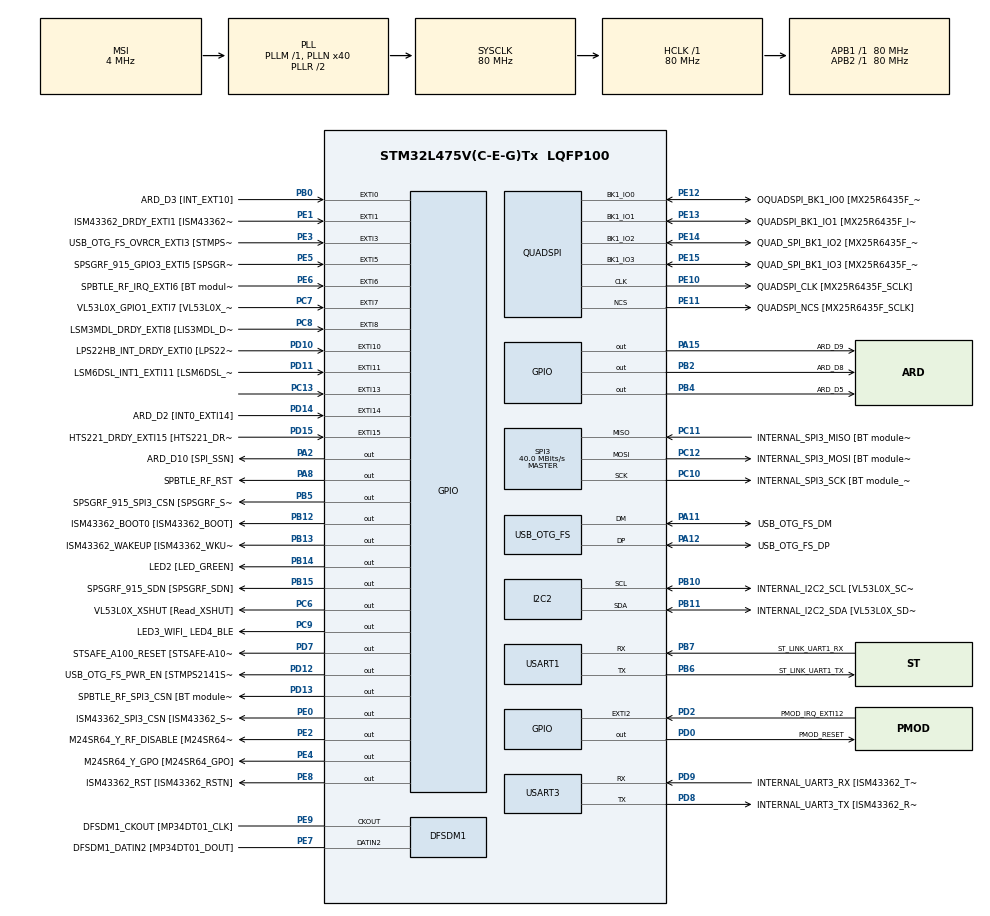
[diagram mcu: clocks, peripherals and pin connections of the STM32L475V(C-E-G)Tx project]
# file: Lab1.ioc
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FREERTOS.BinarySemaphores01=buttonSem,Dynamic,NULL,Depleted;blinkSem,Dynamic,NULL,Depleted;longPressSem,Dynamic,NULL,Depleted
FREERTOS.Mutexes01=mutex,Dynamic,NULL,Available
FREERTOS.Tasks01=myTask03,24,128,StartTask03,Default,NULL,Dynamic,NULL,NULL;myTask01,8,128,StartTask01,Default,NULL,Dynamic,NULL,NULL;myTask02,8,128,StartTask02,Default,NULL,Dynamic,NULL,NULL
I2C2.Timing=0x10D19CE4
Mcu.Family=STM32L4
Mcu.Name=STM32L475V(C-E-G)Tx
Mcu.Package=LQFP100
NVIC.EXTI15_10_IRQn=true\:5\:0\:false\:false\:true\:true\:true\:true\:true
NVIC.EXTI9_5_IRQn=true\:5\:0\:false\:false\:true\:true\:true\:true\:true
NVIC.PriorityGroup=NVIC_PRIORITYGROUP_4
NVIC.TIM2_IRQn=true\:5\:0\:false\:false\:true\:true\:true\:true\:true
PA0.GPIO_Label=ARD_D1 [UART4_TX]
PA0.Signal=UART4_TX
PA1.GPIO_Label=ARD_D0 [UART4_RX]
PA1.Signal=UART4_RX
PA10.GPIO_Label=USB_OTG_FS_ID
PA10.Signal=USB_OTG_FS_ID
PA11.GPIO_Label=USB_OTG_FS_DM
PA11.Mode=Device_Only
PA11.Signal=USB_OTG_FS_DM
PA12.GPIO_Label=USB_OTG_FS_DP
PA12.Mode=Device_Only
PA12.Signal=USB_OTG_FS_DP
PA13\ (JTMS-SWDIO).GPIO_Label=SYS_JTMS_SWDIO
PA13\ (JTMS-SWDIO).Mode=Serial_Wire
PA13\ (JTMS-SWDIO).Signal=SYS_JTMS-SWDIO
PA14\ (JTCK-SWCLK).GPIO_Label=SYS_JTCK_SWCLK
PA14\ (JTCK-SWCLK).Mode=Serial_Wire
PA14\ (JTCK-SWCLK).Signal=SYS_JTCK-SWCLK
PA15\ (JTDI).GPIO_Label=ARD_D9
PA15\ (JTDI).Signal=GPIO_Output
PA2.GPIO_Label=ARD_D10 [SPI_SSN]
PA2.Signal=GPIO_Output
PA3.GPIO_Label=ARD_D4
PA3.Signal=S_TIM2_CH4
PA4.GPIO_Label=ARD_D7
PA4.Signal=ADCx_IN9
PA5.GPIO_Label=ARD_D13 [SPI1_SCK]
PA5.Signal=SPI1_SCK
PA6.GPIO_Label=ARD_D12 [SPI1_MISO]
PA6.Signal=SPI1_MISO
PA7.GPIO_Label=ARD_D11 [SPI1_MOSI]
PA7.Signal=SPI1_MOSI
PA8.GPIO_Label=SPBTLE_RF_RST
PA8.Signal=GPIO_Output
PA9.GPIO_Label=USB_OTG_FS_VBUS [STMPS2141STR_OUT]
PA9.Signal=USB_OTG_FS_VBUS
PB0.GPIO_Label=ARD_D3 [INT_EXT10]
PB0.Signal=GPXTI0
PB1.GPIO_Label=ARD_D6 [ADC1_IN6]
PB1.Signal=ADCx_IN16
PB10.GPIO_Label=INTERNAL_I2C2_SCL [VL53L0X_SCL]
PB10.GPIO_Pu=GPIO_PULLUP
PB10.Mode=I2C
PB10.Signal=I2C2_SCL
PB11.GPIO_Label=INTERNAL_I2C2_SDA [VL53L0X_SDA]
PB11.GPIO_Pu=GPIO_PULLUP
PB11.Mode=I2C
PB11.Signal=I2C2_SDA
PB12.GPIO_Label=ISM43362_BOOT0 [ISM43362_BOOT]
PB12.Signal=GPIO_Output
PB13.GPIO_Label=ISM43362_WAKEUP [ISM43362_WKUP]
PB13.Signal=GPIO_Output
PB14.GPIO_Label=LED2 [LED_GREEN]
PB14.Signal=GPIO_Output
PB15.GPIO_Label=SPSGRF_915_SDN [SPSGRF_SDN]
PB15.Signal=GPIO_Output
PB2.GPIO_Label=ARD_D8
PB2.Signal=GPIO_Output
PB3\ (JTDO-TRACESWO).GPIO_Label=SYS_JTD0_SWO
PB3\ (JTDO-TRACESWO).Signal=SYS_JTDO-SWO
PB4\ (NJTRST).GPIO_Label=ARD_D5
PB4\ (NJTRST).Signal=GPIO_Output
PB5.GPIO_Label=SPSGRF_915_SPI3_CSN [SPSGRF_SPI_CS]
PB5.PinState=GPIO_PIN_SET
PB5.Signal=GPIO_Output
PB6.GPIO_Label=ST_LINK_UART1_TX
PB6.Mode=Asynchronous
PB6.Signal=USART1_TX
PB7.GPIO_Label=ST_LINK_UART1_RX
PB7.Mode=Asynchronous
PB7.Signal=USART1_RX
PB8.GPIO_Label=ARD_D15 [I2C1_SCL]
PB8.Signal=I2C1_SCL
PB9.GPIO_Label=ARD_D14 [I2C1_SDA]
PB9.Signal=I2C1_SDA
PC0.GPIO_Label=ARD_A5 [ADC]
PC0.Signal=ADCx_IN1
PC1.GPIO_Label=ARD_A4 [ADC]
PC1.Signal=ADCx_IN2
PC10.GPIO_Label=INTERNAL_SPI3_SCK [BT module_SPI_SCLK] [ISM43362_SCK]
PC10.Mode=Full_Duplex_Master
PC10.Signal=SPI3_SCK
PC11.GPIO_Label=INTERNAL_SPI3_MISO [BT module_SPI_MISO] [ISM43362_MISO]
PC11.Mode=Full_Duplex_Master
PC11.Signal=SPI3_MISO
PC12.GPIO_Label=INTERNAL_SPI3_MOSI [BT module_SPI_MOSI] [ISM43362_MOSI]
PC12.Mode=Full_Duplex_Master
PC12.Signal=SPI3_MOSI
PC13.GPIO_ModeDefaultEXTI=GPIO_MODE_IT_RISING_FALLING
PC13.Signal=GPXTI13
PC14-OSC32_IN\ (PC14).Mode=LSE-External-Oscillator
PC14-OSC32_IN\ (PC14).Signal=RCC_OSC32_IN
PC15-OSC32_OUT\ (PC15).Mode=LSE-External-Oscillator
PC15-OSC32_OUT\ (PC15).Signal=RCC_OSC32_OUT
PC2.GPIO_Label=ARD_A3 [ADC]
PC2.Signal=ADCx_IN3
PC3.GPIO_Label=ARD_A2 [ADC]
PC3.Signal=ADCx_IN4
PC4.GPIO_Label=ARD_A1 [ADC]
PC4.Signal=ADCx_IN13
PC5.GPIO_Label=ARD_A0 [ADC]
PC5.Signal=ADCx_IN14
PC6.GPIO_Label=VL53L0X_XSHUT [Read_XSHUT]
PC6.Signal=GPIO_Output
PC7.GPIO_Label=VL53L0X_GPIO1_EXTI7 [VL53L0X_GPIO1]
PC7.Signal=GPXTI7
PC8.GPIO_Label=LSM3MDL_DRDY_EXTI8 [LIS3MDL_DRDY]
PC8.Signal=GPXTI8
PC9.GPIO_Label=LED3_WIFI_ LED4_BLE
PC9.Signal=GPIO_Output
PD0.GPIO_Label=PMOD_RESET
PD0.Signal=GPIO_Output
PD1.GPIO_Label=PMOD_SPI2_SCK
PD1.Signal=SPI2_SCK
PD10.GPIO_Label=LPS22HB_INT_DRDY_EXTI0 [LPS22HB_INT_DRDY] 
PD10.Signal=GPXTI10
PD11.GPIO_Label=LSM6DSL_INT1_EXTI11 [LSM6DSL_INT1]
PD11.Signal=GPXTI11
PD12.GPIO_Label=USB_OTG_FS_PWR_EN [STMPS2141STR_EN]
PD12.Signal=GPIO_Output
PD13.GPIO_Label=SPBTLE_RF_SPI3_CSN [BT module_SPI_CS]
PD13.PinState=GPIO_PIN_SET
PD13.Signal=GPIO_Output
PD14.GPIO_Label=ARD_D2 [INT0_EXTI14]
PD14.Signal=GPXTI14
PD15.GPIO_Label=HTS221_DRDY_EXTI15 [HTS221_DRDY]
PD15.Signal=GPXTI15
PD2.GPIO_Label=PMOD_IRQ_EXTI12
PD2.Signal=GPXTI2
PD3.GPIO_Label=PMOD_UART2_CTS
PD3.Signal=USART2_CTS
PD4.GPIO_Label=PMOD_UART2_RTS
PD4.Signal=USART2_RTS
PD5.GPIO_Label=PMOD_UART2_TX
PD5.Signal=USART2_TX
PD6.GPIO_Label=PMOD_UART2_RX
PD6.Signal=USART2_RX
PD7.GPIO_Label=STSAFE_A100_RESET [STSAFE-A100_RESET]
PD7.Signal=GPIO_Output
PD8.GPIO_Label=INTERNAL_UART3_TX [ISM43362_RX]
PD8.Mode=Asynchronous
PD8.Signal=USART3_TX
PD9.GPIO_Label=INTERNAL_UART3_RX [ISM43362_TX]
PD9.Mode=Asynchronous
PD9.Signal=USART3_RX
PE0.GPIO_Label=ISM43362_SPI3_CSN [ISM43362_SSN]
PE0.PinState=GPIO_PIN_SET
PE0.Signal=GPIO_Output
PE1.GPIO_Label=ISM43362_DRDY_EXTI1 [ISM43362_DATARDY]
PE1.Signal=GPXTI1
PE10.GPIO_Label=QUADSPI_CLK [MX25R6435F_SCLK]
PE10.Mode=Single Bank
PE10.Signal=QUADSPI_CLK
PE11.GPIO_Label=QUADSPI_NCS [MX25R6435F_SCLK]
PE11.Mode=Single Bank
PE11.Signal=QUADSPI_NCS
PE12.GPIO_Label=OQUADSPI_BK1_IO0 [MX25R6435F_IO0]
PE12.Mode=Single Bank
PE12.Signal=QUADSPI_BK1_IO0
PE13.GPIO_Label=QUADSPI_BK1_IO1 [MX25R6435F_IO1]
PE13.Mode=Single Bank
PE13.Signal=QUADSPI_BK1_IO1
PE14.GPIO_Label=QUAD_SPI_BK1_IO2 [MX25R6435F_IO2]
PE14.Mode=Single Bank
PE14.Signal=QUADSPI_BK1_IO2
PE15.GPIO_Label=QUAD_SPI_BK1_IO3 [MX25R6435F_IO3]
PE15.Mode=Single Bank
PE15.Signal=QUADSPI_BK1_IO3
PE2.GPIO_Label=M24SR64_Y_RF_DISABLE [M24SR64_RFDIS]
PE2.Signal=GPIO_Output
PE3.GPIO_Label=USB_OTG_FS_OVRCR_EXTI3 [STMPS2141STR_FAULT]
PE3.Signal=GPXTI3
PE4.GPIO_Label=M24SR64_Y_GPO [M24SR64_GPO]
PE4.Signal=GPIO_Output
PE5.GPIO_Label=SPSGRF_915_GPIO3_EXTI5 [SPSGRF_GPIO_3]
PE5.Signal=GPXTI5
PE6.GPIO_Label=SPBTLE_RF_IRQ_EXTI6 [BT module_SPI_IRQ]
PE6.Signal=GPXTI6
PE7.GPIO_Label=DFSDM1_DATIN2 [MP34DT01_DOUT]
PE7.Signal=S_DATAIN2DFSDM1
PE8.GPIO_Label=ISM43362_RST [ISM43362_RSTN]
PE8.Signal=GPIO_Output
PE9.GPIO_Label=DFSDM1_CKOUT [MP34DT01_CLK]
PE9.Signal=S_CKOUTDFSDM1
ProjectManager.HeapSize=0x200
ProjectManager.StackSize=0x400
ProjectManager.TargetToolchain=STM32CubeIDE
QUADSPI.ClockPrescaler=2
QUADSPI.FifoThreshold=4
QUADSPI.FlashSize=23
QUADSPI.SampleShifting=QSPI_SAMPLE_SHIFTING_HALFCYCLE
RCC.ADCFreq_Value=48000000
RCC.AHBFreq_Value=80000000
RCC.APB1Freq_Value=80000000
RCC.APB1TimFreq_Value=80000000
RCC.APB2Freq_Value=80000000
RCC.APB2TimFreq_Value=80000000
RCC.CortexFreq_Value=80000000
RCC.HCLKFreq_Value=80000000
RCC.HSE_VALUE=8000000
RCC.HSI_VALUE=16000000
RCC.MSI_VALUE=4000000
RCC.PLLN=40
RCC.PLLSAI1N=24
RCC.SYSCLKFreq_VALUE=80000000
RCC.SYSCLKSource=RCC_SYSCLKSOURCE_PLLCLK
RCC.USBFreq_Value=48000000
RCC.VCOOutputFreq_Value=160000000
SH.ADCx_IN1.0=ADC1_IN1
SH.ADCx_IN13.0=ADC1_IN13
SH.ADCx_IN14.0=ADC1_IN14
SH.ADCx_IN16.0=ADC1_IN16
SH.ADCx_IN2.0=ADC1_IN2
SH.ADCx_IN3.0=ADC1_IN3
SH.ADCx_IN4.0=ADC1_IN4
SH.ADCx_IN9.0=ADC1_IN9
SH.S_CKOUTDFSDM1.0=DFSDM1_CKOUT,CKOUT
SH.S_CKOUTDFSDM1.1=DFSDM1_CKOUT,PDM_SPI_Input_from_ch12_and_Internal_Clock
SH.S_DATAIN2DFSDM1.0=DFSDM1_DATIN2,PDM_SPI_Input_from_ch12_and_Internal_Clock
SH.S_TIM2_CH4.0=TIM2_CH4
SPI3.BaudRatePrescaler=SPI_BAUDRATEPRESCALER_2
SPI3.CalculateBaudRate=40.0 MBits/s
SPI3.Direction=SPI_DIRECTION_2LINES
SPI3.Mode=SPI_MODE_MASTER
SPI3.VirtualType=VM_MASTER
TIM2.Period=100000
TIM2.Prescaler=7999
USART1.VirtualMode-Asynchronous=VM_ASYNC
USART3.VirtualMode-Asynchronous=VM_ASYNC
USB_OTG_FS.VirtualMode=Device_Only
VP_FREERTOS_VS_CMSIS_V2.Mode=CMSIS_V2
VP_TIM2_VS_ClockSourceINT.Mode=Internal
board=B-L475E-IOT01A1

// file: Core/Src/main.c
/* USER CODE BEGIN Header */
/**
  ******************************************************************************
  * @file           : main.c
  * @brief          : Main program body
  ******************************************************************************
  * @attention
  *
  * Copyright (c) 2025 STMicroelectronics.
  * All rights reserved.
  *
  * This software is licensed under terms that can be found in the LICENSE file
  * in the root directory of this software component.
  * If no LICENSE file comes with this software, it is provided AS-IS.
  *
  ******************************************************************************
  */
/* USER CODE END Header */
#include "main.h"
#include "cmsis_os.h"

DFSDM_Channel_HandleTypeDef hdfsdm1_channel1;

I2C_HandleTypeDef hi2c2;

QSPI_HandleTypeDef hqspi;

SPI_HandleTypeDef hspi3;

TIM_HandleTypeDef htim2;

UART_HandleTypeDef huart1;
UART_HandleTypeDef huart3;

PCD_HandleTypeDef hpcd_USB_OTG_FS;

/* Definitions for myTask03 */
osThreadId_t myTask03Handle;
const osThreadAttr_t myTask03_attributes = {
  .name = "myTask03",
  .stack_size = 128 * 4,
  .priority = (osPriority_t) osPriorityNormal,
};
/* Definitions for myTask01 */
osThreadId_t myTask01Handle;
const osThreadAttr_t myTask01_attributes = {
  .name = "myTask01",
  .stack_size = 128 * 4,
  .priority = (osPriority_t) osPriorityLow,
};
/* Definitions for myTask02 */
osThreadId_t myTask02Handle;
const osThreadAttr_t myTask02_attributes = {
  .name = "myTask02",
  .stack_size = 128 * 4,
  .priority = (osPriority_t) osPriorityLow,
};
/* Definitions for mutex */
osMutexId_t mutexHandle;
const osMutexAttr_t mutex_attributes = {
  .name = "mutex"
};
/* Definitions for buttonSem */
osSemaphoreId_t buttonSemHandle;
const osSemaphoreAttr_t buttonSem_attributes = {
  .name = "buttonSem"
};
/* Definitions for blinkSem */
osSemaphoreId_t blinkSemHandle;
const osSemaphoreAttr_t blinkSem_attributes = {
  .name = "blinkSem"
};
/* Definitions for longPressSem */
osSemaphoreId_t longPressSemHandle;
const osSemaphoreAttr_t longPressSem_attributes = {
  .name = "longPressSem"
};
/* USER CODE BEGIN PV */
static int timestamp_pressed;
/* USER CODE END PV */

void SystemClock_Config(void);
static void MX_GPIO_Init(void);
static void MX_DFSDM1_Init(void);
static void MX_I2C2_Init(void);
static void MX_QUADSPI_Init(void);
static void MX_SPI3_Init(void);
static void MX_USART1_UART_Init(void);
static void MX_USART3_UART_Init(void);
static void MX_USB_OTG_FS_PCD_Init(void);
static void MX_TIM2_Init(void);
void StartTask03(void *argument);
void StartTask01(void *argument);
void StartTask02(void *argument);

int main(void)
{

  /* USER CODE BEGIN 1 */
  timestamp_pressed = -1;
  /* USER CODE END 1 */

  /* MCU Configuration--------------------------------------------------------*/

  /* Reset of all peripherals, Initializes the Flash interface and the Systick. */
  HAL_Init();

  /* Configure the system clock */
  SystemClock_Config();

  /* Initialize all configured peripherals */
  MX_GPIO_Init();
  MX_DFSDM1_Init();
  MX_I2C2_Init();
  MX_QUADSPI_Init();
  MX_SPI3_Init();
  MX_USART1_UART_Init();
  MX_USART3_UART_Init();
  MX_USB_OTG_FS_PCD_Init();
  MX_TIM2_Init();
  /* USER CODE BEGIN 2 */
  // HAL_TIM_Base_Start(&htim2);
  HAL_TIM_Base_Start_IT(&htim2);
  /* USER CODE END 2 */

  /* Init scheduler */
  osKernelInitialize();
  /* Create the mutex(es) */
  /* creation of mutex */
  mutexHandle = osMutexNew(&mutex_attributes);

  /* Create the semaphores(s) */
  /* creation of buttonSem */
  buttonSemHandle = osSemaphoreNew(1, 0, &buttonSem_attributes);

  /* creation of blinkSem */
  blinkSemHandle = osSemaphoreNew(1, 0, &blinkSem_attributes);

  /* creation of longPressSem */
  longPressSemHandle = osSemaphoreNew(1, 0, &longPressSem_attributes);

  /* Create the thread(s) */
  /* creation of myTask03 */
  myTask03Handle = osThreadNew(StartTask03, NULL, &myTask03_attributes);

  /* creation of myTask01 */
  myTask01Handle = osThreadNew(StartTask01, NULL, &myTask01_attributes);

  /* creation of myTask02 */
  myTask02Handle = osThreadNew(StartTask02, NULL, &myTask02_attributes);

  /* Start scheduler */
  osKernelStart();

  /* We should never get here as control is now taken by the scheduler */

  /* Infinite loop */
  while (1)
  {

  }
}

void SystemClock_Config(void)
{
  RCC_OscInitTypeDef RCC_OscInitStruct = {0};
  RCC_ClkInitTypeDef RCC_ClkInitStruct = {0};

  /** Configure the main internal regulator output voltage
  */
  if (HAL_PWREx_ControlVoltageScaling(PWR_REGULATOR_VOLTAGE_SCALE1) != HAL_OK)
  {
    Error_Handler();
  }

  /** Configure LSE Drive Capability
  */
  HAL_PWR_EnableBkUpAccess();
  __HAL_RCC_LSEDRIVE_CONFIG(RCC_LSEDRIVE_LOW);

  /** Initializes the RCC Oscillators according to the specified parameters
  * in the RCC_OscInitTypeDef structure.
  */
  RCC_OscInitStruct.OscillatorType = RCC_OSCILLATORTYPE_LSE|RCC_OSCILLATORTYPE_MSI;
  RCC_OscInitStruct.LSEState = RCC_LSE_ON;
  RCC_OscInitStruct.MSIState = RCC_MSI_ON;
  RCC_OscInitStruct.MSICalibrationValue = 0;
  RCC_OscInitStruct.MSIClockRange = RCC_MSIRANGE_6;
  RCC_OscInitStruct.PLL.PLLState = RCC_PLL_ON;
  RCC_OscInitStruct.PLL.PLLSource = RCC_PLLSOURCE_MSI;
  RCC_OscInitStruct.PLL.PLLM = 1;
  RCC_OscInitStruct.PLL.PLLN = 40;
  RCC_OscInitStruct.PLL.PLLP = RCC_PLLP_DIV7;
  RCC_OscInitStruct.PLL.PLLQ = RCC_PLLQ_DIV2;
  RCC_OscInitStruct.PLL.PLLR = RCC_PLLR_DIV2;
  if (HAL_RCC_OscConfig(&RCC_OscInitStruct) != HAL_OK)
  {
    Error_Handler();
  }

  /** Initializes the CPU, AHB and APB buses clocks
  */
  RCC_ClkInitStruct.ClockType = RCC_CLOCKTYPE_HCLK|RCC_CLOCKTYPE_SYSCLK
                              |RCC_CLOCKTYPE_PCLK1|RCC_CLOCKTYPE_PCLK2;
  RCC_ClkInitStruct.SYSCLKSource = RCC_SYSCLKSOURCE_PLLCLK;
  RCC_ClkInitStruct.AHBCLKDivider = RCC_SYSCLK_DIV1;
  RCC_ClkInitStruct.APB1CLKDivider = RCC_HCLK_DIV1;
  RCC_ClkInitStruct.APB2CLKDivider = RCC_HCLK_DIV1;

  if (HAL_RCC_ClockConfig(&RCC_ClkInitStruct, FLASH_LATENCY_4) != HAL_OK)
  {
    Error_Handler();
  }

  /** Enable MSI Auto calibration
  */
  HAL_RCCEx_EnableMSIPLLMode();
}

static void MX_DFSDM1_Init(void)
{

  hdfsdm1_channel1.Instance = DFSDM1_Channel1;
  hdfsdm1_channel1.Init.OutputClock.Activation = ENABLE;
  hdfsdm1_channel1.Init.OutputClock.Selection = DFSDM_CHANNEL_OUTPUT_CLOCK_SYSTEM;
  hdfsdm1_channel1.Init.OutputClock.Divider = 2;
  hdfsdm1_channel1.Init.Input.Multiplexer = DFSDM_CHANNEL_EXTERNAL_INPUTS;
  hdfsdm1_channel1.Init.Input.DataPacking = DFSDM_CHANNEL_STANDARD_MODE;
  hdfsdm1_channel1.Init.Input.Pins = DFSDM_CHANNEL_FOLLOWING_CHANNEL_PINS;
  hdfsdm1_channel1.Init.SerialInterface.Type = DFSDM_CHANNEL_SPI_RISING;
  hdfsdm1_channel1.Init.SerialInterface.SpiClock = DFSDM_CHANNEL_SPI_CLOCK_INTERNAL;
  hdfsdm1_channel1.Init.Awd.FilterOrder = DFSDM_CHANNEL_FASTSINC_ORDER;
  hdfsdm1_channel1.Init.Awd.Oversampling = 1;
  hdfsdm1_channel1.Init.Offset = 0;
  hdfsdm1_channel1.Init.RightBitShift = 0x00;
  if (HAL_DFSDM_ChannelInit(&hdfsdm1_channel1) != HAL_OK)
  {
    Error_Handler();
  }

}

static void MX_I2C2_Init(void)
{

  hi2c2.Instance = I2C2;
  hi2c2.Init.Timing = 0x10D19CE4;
  hi2c2.Init.OwnAddress1 = 0;
  hi2c2.Init.AddressingMode = I2C_ADDRESSINGMODE_7BIT;
  hi2c2.Init.DualAddressMode = I2C_DUALADDRESS_DISABLE;
  hi2c2.Init.OwnAddress2 = 0;
  hi2c2.Init.OwnAddress2Masks = I2C_OA2_NOMASK;
  hi2c2.Init.GeneralCallMode = I2C_GENERALCALL_DISABLE;
  hi2c2.Init.NoStretchMode = I2C_NOSTRETCH_DISABLE;
  if (HAL_I2C_Init(&hi2c2) != HAL_OK)
  {
    Error_Handler();
  }

  /** Configure Analogue filter
  */
  if (HAL_I2CEx_ConfigAnalogFilter(&hi2c2, I2C_ANALOGFILTER_ENABLE) != HAL_OK)
  {
    Error_Handler();
  }

  /** Configure Digital filter
  */
  if (HAL_I2CEx_ConfigDigitalFilter(&hi2c2, 0) != HAL_OK)
  {
    Error_Handler();
  }

}

static void MX_QUADSPI_Init(void)
{

  /* QUADSPI parameter configuration*/
  hqspi.Instance = QUADSPI;
  hqspi.Init.ClockPrescaler = 2;
  hqspi.Init.FifoThreshold = 4;
  hqspi.Init.SampleShifting = QSPI_SAMPLE_SHIFTING_HALFCYCLE;
  hqspi.Init.FlashSize = 23;
  hqspi.Init.ChipSelectHighTime = QSPI_CS_HIGH_TIME_1_CYCLE;
  hqspi.Init.ClockMode = QSPI_CLOCK_MODE_0;
  if (HAL_QSPI_Init(&hqspi) != HAL_OK)
  {
    Error_Handler();
  }

}

static void MX_SPI3_Init(void)
{

  /* SPI3 parameter configuration*/
  hspi3.Instance = SPI3;
  hspi3.Init.Mode = SPI_MODE_MASTER;
  hspi3.Init.Direction = SPI_DIRECTION_2LINES;
  hspi3.Init.DataSize = SPI_DATASIZE_4BIT;
  hspi3.Init.CLKPolarity = SPI_POLARITY_LOW;
  hspi3.Init.CLKPhase = SPI_PHASE_1EDGE;
  hspi3.Init.NSS = SPI_NSS_SOFT;
  hspi3.Init.BaudRatePrescaler = SPI_BAUDRATEPRESCALER_2;
  hspi3.Init.FirstBit = SPI_FIRSTBIT_MSB;
  hspi3.Init.TIMode = SPI_TIMODE_DISABLE;
  hspi3.Init.CRCCalculation = SPI_CRCCALCULATION_DISABLE;
  hspi3.Init.CRCPolynomial = 7;
  hspi3.Init.CRCLength = SPI_CRC_LENGTH_DATASIZE;
  hspi3.Init.NSSPMode = SPI_NSS_PULSE_ENABLE;
  if (HAL_SPI_Init(&hspi3) != HAL_OK)
  {
    Error_Handler();
  }

}

static void MX_TIM2_Init(void)
{

  TIM_ClockConfigTypeDef sClockSourceConfig = {0};
  TIM_MasterConfigTypeDef sMasterConfig = {0};

  htim2.Instance = TIM2;
  htim2.Init.Prescaler = 7999;
  htim2.Init.CounterMode = TIM_COUNTERMODE_UP;
  htim2.Init.Period = 100000;
  htim2.Init.ClockDivision = TIM_CLOCKDIVISION_DIV1;
  htim2.Init.AutoReloadPreload = TIM_AUTORELOAD_PRELOAD_DISABLE;
  if (HAL_TIM_Base_Init(&htim2) != HAL_OK)
  {
    Error_Handler();
  }
  sClockSourceConfig.ClockSource = TIM_CLOCKSOURCE_INTERNAL;
  if (HAL_TIM_ConfigClockSource(&htim2, &sClockSourceConfig) != HAL_OK)
  {
    Error_Handler();
  }
  sMasterConfig.MasterOutputTrigger = TIM_TRGO_RESET;
  sMasterConfig.MasterSlaveMode = TIM_MASTERSLAVEMODE_DISABLE;
  if (HAL_TIMEx_MasterConfigSynchronization(&htim2, &sMasterConfig) != HAL_OK)
  {
    Error_Handler();
  }

}

static void MX_USART1_UART_Init(void)
{

  huart1.Instance = USART1;
  huart1.Init.BaudRate = 115200;
  huart1.Init.WordLength = UART_WORDLENGTH_8B;
  huart1.Init.StopBits = UART_STOPBITS_1;
  huart1.Init.Parity = UART_PARITY_NONE;
  huart1.Init.Mode = UART_MODE_TX_RX;
  huart1.Init.HwFlowCtl = UART_HWCONTROL_NONE;
  huart1.Init.OverSampling = UART_OVERSAMPLING_16;
  huart1.Init.OneBitSampling = UART_ONE_BIT_SAMPLE_DISABLE;
  huart1.AdvancedInit.AdvFeatureInit = UART_ADVFEATURE_NO_INIT;
  if (HAL_UART_Init(&huart1) != HAL_OK)
  {
    Error_Handler();
  }

}

static void MX_USART3_UART_Init(void)
{

  huart3.Instance = USART3;
  huart3.Init.BaudRate = 115200;
  huart3.Init.WordLength = UART_WORDLENGTH_8B;
  huart3.Init.StopBits = UART_STOPBITS_1;
  huart3.Init.Parity = UART_PARITY_NONE;
  huart3.Init.Mode = UART_MODE_TX_RX;
  huart3.Init.HwFlowCtl = UART_HWCONTROL_NONE;
  huart3.Init.OverSampling = UART_OVERSAMPLING_16;
  huart3.Init.OneBitSampling = UART_ONE_BIT_SAMPLE_DISABLE;
  huart3.AdvancedInit.AdvFeatureInit = UART_ADVFEATURE_NO_INIT;
  if (HAL_UART_Init(&huart3) != HAL_OK)
  {
    Error_Handler();
  }

}

static void MX_USB_OTG_FS_PCD_Init(void)
{

  hpcd_USB_OTG_FS.Instance = USB_OTG_FS;
  hpcd_USB_OTG_FS.Init.dev_endpoints = 6;
  hpcd_USB_OTG_FS.Init.speed = PCD_SPEED_FULL;
  hpcd_USB_OTG_FS.Init.phy_itface = PCD_PHY_EMBEDDED;
  hpcd_USB_OTG_FS.Init.Sof_enable = DISABLE;
  hpcd_USB_OTG_FS.Init.low_power_enable = DISABLE;
  hpcd_USB_OTG_FS.Init.lpm_enable = DISABLE;
  hpcd_USB_OTG_FS.Init.battery_charging_enable = DISABLE;
  hpcd_USB_OTG_FS.Init.use_dedicated_ep1 = DISABLE;
  hpcd_USB_OTG_FS.Init.vbus_sensing_enable = DISABLE;
  if (HAL_PCD_Init(&hpcd_USB_OTG_FS) != HAL_OK)
  {
    Error_Handler();
  }

}

static void MX_GPIO_Init(void)
{
  GPIO_InitTypeDef GPIO_InitStruct = {0};

  /* GPIO Ports Clock Enable */
  __HAL_RCC_GPIOE_CLK_ENABLE();
  __HAL_RCC_GPIOC_CLK_ENABLE();
  __HAL_RCC_GPIOA_CLK_ENABLE();
  __HAL_RCC_GPIOB_CLK_ENABLE();
  __HAL_RCC_GPIOD_CLK_ENABLE();

  /*Configure GPIO pin Output Level */
  HAL_GPIO_WritePin(GPIOE, M24SR64_Y_RF_DISABLE_Pin|M24SR64_Y_GPO_Pin|ISM43362_RST_Pin, GPIO_PIN_RESET);

  /*Configure GPIO pin Output Level */
  HAL_GPIO_WritePin(GPIOA, ARD_D10_Pin|SPBTLE_RF_RST_Pin|ARD_D9_Pin, GPIO_PIN_RESET);

  /*Configure GPIO pin Output Level */
  HAL_GPIO_WritePin(GPIOB, ARD_D8_Pin|ISM43362_BOOT0_Pin|ISM43362_WAKEUP_Pin|LED2_Pin
                          |SPSGRF_915_SDN_Pin|ARD_D5_Pin, GPIO_PIN_RESET);

  /*Configure GPIO pin Output Level */
  HAL_GPIO_WritePin(GPIOD, USB_OTG_FS_PWR_EN_Pin|PMOD_RESET_Pin|STSAFE_A100_RESET_Pin, GPIO_PIN_RESET);

  /*Configure GPIO pin Output Level */
  HAL_GPIO_WritePin(SPBTLE_RF_SPI3_CSN_GPIO_Port, SPBTLE_RF_SPI3_CSN_Pin, GPIO_PIN_SET);

  /*Configure GPIO pin Output Level */
  HAL_GPIO_WritePin(GPIOC, VL53L0X_XSHUT_Pin|LED3_WIFI__LED4_BLE_Pin, GPIO_PIN_RESET);

  /*Configure GPIO pin Output Level */
  HAL_GPIO_WritePin(SPSGRF_915_SPI3_CSN_GPIO_Port, SPSGRF_915_SPI3_CSN_Pin, GPIO_PIN_SET);

  /*Configure GPIO pin Output Level */
  HAL_GPIO_WritePin(ISM43362_SPI3_CSN_GPIO_Port, ISM43362_SPI3_CSN_Pin, GPIO_PIN_SET);

  /*Configure GPIO pins : M24SR64_Y_RF_DISABLE_Pin M24SR64_Y_GPO_Pin ISM43362_RST_Pin ISM43362_SPI3_CSN_Pin */
  GPIO_InitStruct.Pin = M24SR64_Y_RF_DISABLE_Pin|M24SR64_Y_GPO_Pin|ISM43362_RST_Pin|ISM43362_SPI3_CSN_Pin;
  GPIO_InitStruct.Mode = GPIO_MODE_OUTPUT_PP;
  GPIO_InitStruct.Pull = GPIO_NOPULL;
  GPIO_InitStruct.Speed = GPIO_SPEED_FREQ_LOW;
  HAL_GPIO_Init(GPIOE, &GPIO_InitStruct);

  /*Configure GPIO pins : USB_OTG_FS_OVRCR_EXTI3_Pin SPSGRF_915_GPIO3_EXTI5_Pin SPBTLE_RF_IRQ_EXTI6_Pin ISM43362_DRDY_EXTI1_Pin */
  GPIO_InitStruct.Pin = USB_OTG_FS_OVRCR_EXTI3_Pin|SPSGRF_915_GPIO3_EXTI5_Pin|SPBTLE_RF_IRQ_EXTI6_Pin|ISM43362_DRDY_EXTI1_Pin;
  GPIO_InitStruct.Mode = GPIO_MODE_IT_RISING;
  GPIO_InitStruct.Pull = GPIO_NOPULL;
  HAL_GPIO_Init(GPIOE, &GPIO_InitStruct);

  /*Configure GPIO pin : PC13 */
  GPIO_InitStruct.Pin = GPIO_PIN_13;
  GPIO_InitStruct.Mode = GPIO_MODE_IT_RISING_FALLING;
  GPIO_InitStruct.Pull = GPIO_NOPULL;
  HAL_GPIO_Init(GPIOC, &GPIO_InitStruct);

  /*Configure GPIO pins : ARD_A5_Pin ARD_A4_Pin ARD_A3_Pin ARD_A2_Pin
                           ARD_A1_Pin ARD_A0_Pin */
  GPIO_InitStruct.Pin = ARD_A5_Pin|ARD_A4_Pin|ARD_A3_Pin|ARD_A2_Pin
                          |ARD_A1_Pin|ARD_A0_Pin;
  GPIO_InitStruct.Mode = GPIO_MODE_ANALOG_ADC_CONTROL;
  GPIO_InitStruct.Pull = GPIO_NOPULL;
  HAL_GPIO_Init(GPIOC, &GPIO_InitStruct);

  /*Configure GPIO pins : ARD_D1_Pin ARD_D0_Pin */
  GPIO_InitStruct.Pin = ARD_D1_Pin|ARD_D0_Pin;
  GPIO_InitStruct.Mode = GPIO_MODE_AF_PP;
  GPIO_InitStruct.Pull = GPIO_NOPULL;
  GPIO_InitStruct.Speed = GPIO_SPEED_FREQ_VERY_HIGH;
  GPIO_InitStruct.Alternate = GPIO_AF8_UART4;
  HAL_GPIO_Init(GPIOA, &GPIO_InitStruct);

  /*Configure GPIO pins : ARD_D10_Pin SPBTLE_RF_RST_Pin ARD_D9_Pin */
  GPIO_InitStruct.Pin = ARD_D10_Pin|SPBTLE_RF_RST_Pin|ARD_D9_Pin;
  GPIO_InitStruct.Mode = GPIO_MODE_OUTPUT_PP;
  GPIO_InitStruct.Pull = GPIO_NOPULL;
  GPIO_InitStruct.Speed = GPIO_SPEED_FREQ_LOW;
  HAL_GPIO_Init(GPIOA, &GPIO_InitStruct);

  /*Configure GPIO pin : ARD_D7_Pin */
  GPIO_InitStruct.Pin = ARD_D7_Pin;
  GPIO_InitStruct.Mode = GPIO_MODE_ANALOG_ADC_CONTROL;
  GPIO_InitStruct.Pull = GPIO_NOPULL;
  HAL_GPIO_Init(ARD_D7_GPIO_Port, &GPIO_InitStruct);

  /*Configure GPIO pins : ARD_D13_Pin ARD_D12_Pin ARD_D11_Pin */
  GPIO_InitStruct.Pin = ARD_D13_Pin|ARD_D12_Pin|ARD_D11_Pin;
  GPIO_InitStruct.Mode = GPIO_MODE_AF_PP;
  GPIO_InitStruct.Pull = GPIO_NOPULL;
  GPIO_InitStruct.Speed = GPIO_SPEED_FREQ_VERY_HIGH;
  GPIO_InitStruct.Alternate = GPIO_AF5_SPI1;
  HAL_GPIO_Init(GPIOA, &GPIO_InitStruct);

  /*Configure GPIO pin : ARD_D3_Pin */
  GPIO_InitStruct.Pin = ARD_D3_Pin;
  GPIO_InitStruct.Mode = GPIO_MODE_IT_RISING;
  GPIO_InitStruct.Pull = GPIO_NOPULL;
  HAL_GPIO_Init(ARD_D3_GPIO_Port, &GPIO_InitStruct);

  /*Configure GPIO pin : ARD_D6_Pin */
  GPIO_InitStruct.Pin = ARD_D6_Pin;
  GPIO_InitStruct.Mode = GPIO_MODE_ANALOG_ADC_CONTROL;
  GPIO_InitStruct.Pull = GPIO_NOPULL;
  HAL_GPIO_Init(ARD_D6_GPIO_Port, &GPIO_InitStruct);

  /*Configure GPIO pins : ARD_D8_Pin ISM43362_BOOT0_Pin ISM43362_WAKEUP_Pin LED2_Pin
                           SPSGRF_915_SDN_Pin ARD_D5_Pin SPSGRF_915_SPI3_CSN_Pin */
  GPIO_InitStruct.Pin = ARD_D8_Pin|ISM43362_BOOT0_Pin|ISM43362_WAKEUP_Pin|LED2_Pin
                          |SPSGRF_915_SDN_Pin|ARD_D5_Pin|SPSGRF_915_SPI3_CSN_Pin;
  GPIO_InitStruct.Mode = GPIO_MODE_OUTPUT_PP;
  GPIO_InitStruct.Pull = GPIO_NOPULL;
  GPIO_InitStruct.Speed = GPIO_SPEED_FREQ_LOW;
  HAL_GPIO_Init(GPIOB, &GPIO_InitStruct);

  /*Configure GPIO pins : LPS22HB_INT_DRDY_EXTI0_Pin LSM6DSL_INT1_EXTI11_Pin ARD_D2_Pin HTS221_DRDY_EXTI15_Pin
                           PMOD_IRQ_EXTI12_Pin */
  GPIO_InitStruct.Pin = LPS22HB_INT_DRDY_EXTI0_Pin|LSM6DSL_INT1_EXTI11_Pin|ARD_D2_Pin|HTS221_DRDY_EXTI15_Pin
                          |PMOD_IRQ_EXTI12_Pin;
  GPIO_InitStruct.Mode = GPIO_MODE_IT_RISING;
  GPIO_InitStruct.Pull = GPIO_NOPULL;
  HAL_GPIO_Init(GPIOD, &GPIO_InitStruct);

  /*Configure GPIO pins : USB_OTG_FS_PWR_EN_Pin SPBTLE_RF_SPI3_CSN_Pin PMOD_RESET_Pin STSAFE_A100_RESET_Pin */
  GPIO_InitStruct.Pin = USB_OTG_FS_PWR_EN_Pin|SPBTLE_RF_SPI3_CSN_Pin|PMOD_RESET_Pin|STSAFE_A100_RESET_Pin;
  GPIO_InitStruct.Mode = GPIO_MODE_OUTPUT_PP;
  GPIO_InitStruct.Pull = GPIO_NOPULL;
  GPIO_InitStruct.Speed = GPIO_SPEED_FREQ_LOW;
  HAL_GPIO_Init(GPIOD, &GPIO_InitStruct);

  /*Configure GPIO pins : VL53L0X_XSHUT_Pin LED3_WIFI__LED4_BLE_Pin */
  GPIO_InitStruct.Pin = VL53L0X_XSHUT_Pin|LED3_WIFI__LED4_BLE_Pin;
  GPIO_InitStruct.Mode = GPIO_MODE_OUTPUT_PP;
  GPIO_InitStruct.Pull = GPIO_NOPULL;
  GPIO_InitStruct.Speed = GPIO_SPEED_FREQ_LOW;
  HAL_GPIO_Init(GPIOC, &GPIO_InitStruct);

  /*Configure GPIO pins : VL53L0X_GPIO1_EXTI7_Pin LSM3MDL_DRDY_EXTI8_Pin */
  GPIO_InitStruct.Pin = VL53L0X_GPIO1_EXTI7_Pin|LSM3MDL_DRDY_EXTI8_Pin;
  GPIO_InitStruct.Mode = GPIO_MODE_IT_RISING;
  GPIO_InitStruct.Pull = GPIO_NOPULL;
  HAL_GPIO_Init(GPIOC, &GPIO_InitStruct);

  /*Configure GPIO pin : PMOD_SPI2_SCK_Pin */
  GPIO_InitStruct.Pin = PMOD_SPI2_SCK_Pin;
  GPIO_InitStruct.Mode = GPIO_MODE_AF_PP;
  GPIO_InitStruct.Pull = GPIO_NOPULL;
  GPIO_InitStruct.Speed = GPIO_SPEED_FREQ_VERY_HIGH;
  GPIO_InitStruct.Alternate = GPIO_AF5_SPI2;
  HAL_GPIO_Init(PMOD_SPI2_SCK_GPIO_Port, &GPIO_InitStruct);

  /*Configure GPIO pins : PMOD_UART2_CTS_Pin PMOD_UART2_RTS_Pin PMOD_UART2_TX_Pin PMOD_UART2_RX_Pin */
  GPIO_InitStruct.Pin = PMOD_UART2_CTS_Pin|PMOD_UART2_RTS_Pin|PMOD_UART2_TX_Pin|PMOD_UART2_RX_Pin;
  GPIO_InitStruct.Mode = GPIO_MODE_AF_PP;
  GPIO_InitStruct.Pull = GPIO_NOPULL;
  GPIO_InitStruct.Speed = GPIO_SPEED_FREQ_VERY_HIGH;
  GPIO_InitStruct.Alternate = GPIO_AF7_USART2;
  HAL_GPIO_Init(GPIOD, &GPIO_InitStruct);

  /*Configure GPIO pins : ARD_D15_Pin ARD_D14_Pin */
  GPIO_InitStruct.Pin = ARD_D15_Pin|ARD_D14_Pin;
  GPIO_InitStruct.Mode = GPIO_MODE_AF_OD;
  GPIO_InitStruct.Pull = GPIO_NOPULL;
  GPIO_InitStruct.Speed = GPIO_SPEED_FREQ_VERY_HIGH;
  GPIO_InitStruct.Alternate = GPIO_AF4_I2C1;
  HAL_GPIO_Init(GPIOB, &GPIO_InitStruct);

  /* EXTI interrupt init*/
  HAL_NVIC_SetPriority(EXTI9_5_IRQn, 5, 0);
  HAL_NVIC_EnableIRQ(EXTI9_5_IRQn);

  HAL_NVIC_SetPriority(EXTI15_10_IRQn, 5, 0);
  HAL_NVIC_EnableIRQ(EXTI15_10_IRQn);

}

/* USER CODE BEGIN 4 */
void HAL_GPIO_EXTI_Callback(uint16_t GPIO_Pin)
{
  switch (GPIO_Pin)
  {
    case GPIO_PIN_13:
      if (timestamp_pressed == -1) {
	    // user just pressed the button
	    timestamp_pressed = HAL_GetTick();
	  }
	  // long press
	  else if (HAL_GetTick() - timestamp_pressed > 1000) {
	    osSemaphoreRelease(longPressSemHandle);
	    timestamp_pressed = -1;
	  }
	  // short press
	  else {
	    osSemaphoreRelease(buttonSemHandle);
	    timestamp_pressed = -1;
	  }
      break;
  default:
    // HAL_GPIO_EXTI_IRQHandler(GPIO_Pin);
    break;
  }
}

void HAL_TIM_PeriodElapsedCallback(TIM_HandleTypeDef *htim)
{
  if(htim == &htim2)
    osSemaphoreRelease(blinkSemHandle);
}

/* USER CODE END 4 */

void StartTask03(void *argument)
{
  /* USER CODE BEGIN 5 */
  /* Infinite loop */
  for(;;)
  {
	osSemaphoreAcquire(longPressSemHandle, osWaitForever);
	osMutexAcquire(mutexHandle, osWaitForever);
	for (int i = 0; i < 100; i++) {
	  HAL_GPIO_TogglePin(GPIOB, LED2_Pin);
	  HAL_Delay(50);
	}
	osMutexRelease(mutexHandle);
  }
  /* USER CODE END 5 */
}

void StartTask01(void *argument)
{
  /* USER CODE BEGIN StartTask01 */
  /* Infinite loop */
  for(;;)
  {
	osSemaphoreAcquire(buttonSemHandle, osWaitForever);
	osMutexAcquire(mutexHandle, osWaitForever);
	for (int i = 0; i < 10; i++) {
	  HAL_GPIO_TogglePin(GPIOB, LED2_Pin);
	  HAL_Delay(500);
	}
	osMutexRelease(mutexHandle);
  }

  /* USER CODE END StartTask01 */
}

void StartTask02(void *argument)
{
  /* USER CODE BEGIN StartTask02 */
  /* Infinite loop */
  for(;;)
  {
	osSemaphoreAcquire(blinkSemHandle, osWaitForever);
	osMutexAcquire(mutexHandle, osWaitForever);
	for (int i = 0; i < 40; i++) {
	  HAL_GPIO_TogglePin(GPIOB, LED2_Pin);
	  HAL_Delay(50);
	}
	osMutexRelease(mutexHandle);
  }
  /* USER CODE END StartTask02 */
}

void Error_Handler(void)
{
  __disable_irq();
  while (1)
  {
  }
}
